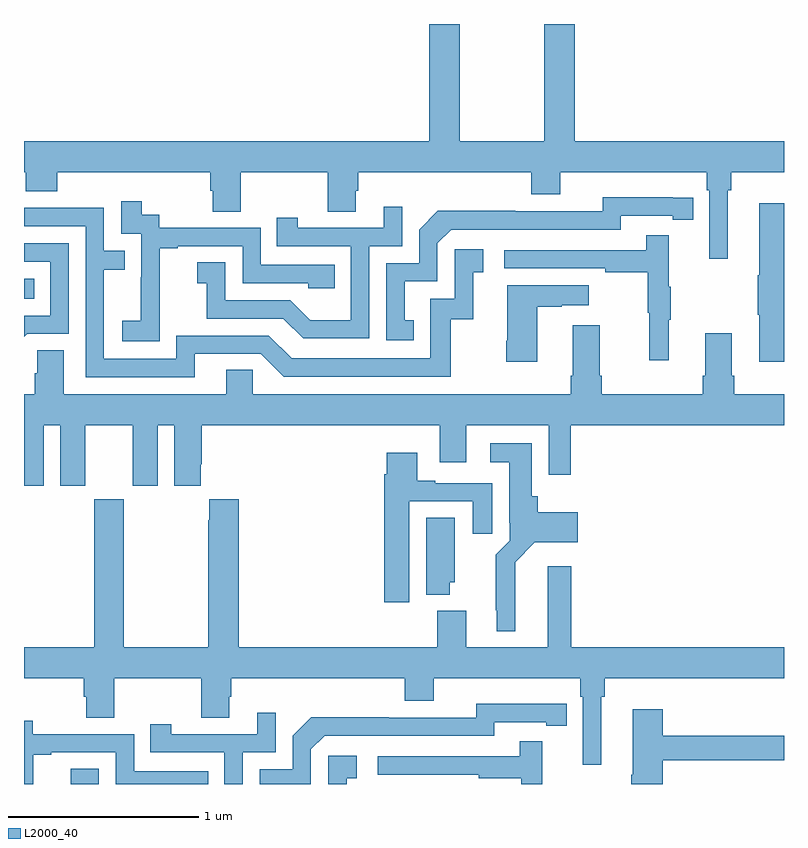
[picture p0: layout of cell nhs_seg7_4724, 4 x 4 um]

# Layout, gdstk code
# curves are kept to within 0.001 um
import gdstk
lib = gdstk.Library(unit=1e-6, precision=1e-09)
def R(c, l, rs):  # rectangles x0, y0, x1, y1
    for r in rs: c.add(gdstk.rectangle(r[:2], r[2:], *l))
def P(c, l, *ps):  # polygons
    for p in ps: c.add(gdstk.Polygon(p, *l))
L2000_40 = (2000, 40)

nhs_seg7_4724 = lib.new_cell('nhs_seg7_4724')
R(nhs_seg7_4724, L2000_40, [(407.247,1060,407.394,1060.081), (407,1062.554,407.054,1062.658)])
P(nhs_seg7_4724, L2000_40, [(409.67,1063.103),(409.822,1063.103),(409.822,1063.22),(410.594,1063.22),(410.594,1063.124),(410.607,1063.124),(410.607,1062.765),(410.704,1062.765),(410.704,1063.124),(410.723,1063.124),(410.723,1063.22),(411,1063.22),(411,1063.384),(409.898,1063.384),(409.898,1064),(409.738,1064),(409.738,1063.384),(409.293,1063.384),(409.293,1064),(409.133,1064),(409.133,1063.384),(407,1063.384),(407,1063.22),(407.009,1063.22),(407.009,1063.121),(407.174,1063.121),(407.174,1063.22),(407.981,1063.22),(407.981,1063.122),(407.993,1063.122),(407.993,1063.012),(408.141,1063.012),(408.141,1063.22),(408.598,1063.22),(408.598,1063.012),(408.745,1063.012),(408.745,1063.122),(408.758,1063.122),(408.758,1063.22),(409.67,1063.22)],
  [(409.052,1062.441),(409.003,1062.441),(409.003,1062.645),(409.176,1062.645),(409.176,1062.846),(409.248,1062.918),(410.142,1062.918),(410.142,1062.99),(410.414,1062.99),(410.414,1062.97),(410.522,1062.97),(410.522,1063.086),(410.046,1063.087),(410.046,1063.014),(409.586,1063.014),(409.586,1063.016),(409.178,1063.016),(409.08,1062.918),(409.08,1062.741),(408.906,1062.741),(408.906,1062.336),(409.052,1062.336)],
  [(407.715,1062.535),(407.714,1062.535),(407.714,1062.819),(407.809,1062.819),(407.809,1062.831),(408.15,1062.831),(408.15,1062.636),(408.495,1062.636),(408.495,1062.609),(408.635,1062.609),(408.635,1062.732),(408.246,1062.732),(408.246,1062.927),(407.712,1062.927),(407.712,1062.996),(407.62,1062.996),(407.62,1063.066),(407.511,1063.066),(407.511,1062.897),(407.616,1062.897),(407.616,1062.668),(407.615,1062.668),(407.615,1062.439),(407.517,1062.439),(407.517,1062.329),(407.715,1062.329)],
  [(411,1063.057),(410.87,1063.057),(410.87,1062.677),(410.863,1062.677),(410.863,1062.471),(410.87,1062.471),(410.87,1062.222),(411,1062.222)],
  [(408.816,1062.831),(408.99,1062.831),(408.99,1063.039),(408.893,1063.039),(408.893,1062.927),(408.442,1062.927),(408.442,1062.979),(408.331,1062.979),(408.331,1062.831),(408.72,1062.831),(408.72,1062.442),(408.506,1062.442),(408.402,1062.546),(408.06,1062.546),(408.06,1062.745),(407.913,1062.745),(407.913,1062.635),(407.962,1062.635),(407.962,1062.45),(408.365,1062.45),(408.47,1062.345),(408.816,1062.345)],
  [(407.899,1062.264),(408.246,1062.264),(408.366,1062.144),(409.246,1062.144),(409.246,1062.447),(409.364,1062.447),(409.364,1062.693),(409.417,1062.693),(409.417,1062.814),(409.266,1062.814),(409.266,1062.555),(409.137,1062.555),(409.137,1062.24),(408.408,1062.24),(408.288,1062.36),(407.802,1062.36),(407.802,1062.237),(407.421,1062.237),(407.421,1062.706),(407.531,1062.706),(407.531,1062.807),(407.421,1062.807),(407.421,1063.032),(407,1063.032),(407,1062.936),(407.325,1062.936),(407.325,1062.141),(407.899,1062.141)],
  [(410.393,1062.443),(410.404,1062.443),(410.404,1062.617),(410.393,1062.617),(410.393,1062.889),(410.275,1062.889),(410.275,1062.81),(409.527,1062.81),(409.527,1062.714),(410.059,1062.714),(410.059,1062.694),(410.283,1062.694),(410.283,1062.48),(410.29,1062.48),(410.29,1062.231),(410.393,1062.231)],
  [(407.016,1062.369),(407.235,1062.369),(407.235,1062.846),(407,1062.846),(407,1062.75),(407.139,1062.75),(407.139,1062.465),(407,1062.465),(407,1062.353)],
  [(409.702,1062.511),(409.829,1062.511),(409.829,1062.521),(409.972,1062.521),(409.972,1062.625),(409.544,1062.625),(409.544,1062.334),(409.537,1062.334),(409.537,1062.222),(409.702,1062.222)],
  [(407.104,1061.888),(407.192,1061.888),(407.192,1061.571),(407.323,1061.571),(407.323,1061.888),(407.573,1061.888),(407.573,1061.571),(407.704,1061.571),(407.704,1061.888),(407.792,1061.888),(407.792,1061.571),(407.929,1061.571),(407.929,1061.683),(407.936,1061.683),(407.936,1061.888),(409.187,1061.888),(409.187,1061.694),(409.327,1061.694),(409.327,1061.888),(409.761,1061.888),(409.761,1061.628),(409.877,1061.628),(409.877,1061.888),(411,1061.888),(411,1062.052),(410.738,1062.052),(410.738,1062.148),(410.725,1062.148),(410.725,1062.373),(410.585,1062.373),(410.585,1062.148),(410.573,1062.148),(410.573,1062.052),(410.042,1062.052),(410.042,1062.148),(410.029,1062.148),(410.029,1062.415),(409.889,1062.415),(409.889,1062.148),(409.877,1062.148),(409.877,1062.052),(408.204,1062.052),(408.204,1062.179),(408.065,1062.179),(408.065,1062.052),(407.209,1062.052),(407.209,1062.284),(407.07,1062.284),(407.07,1062.161),(407.057,1062.161),(407.057,1062.052),(407,1062.052),(407,1061.571),(407.104,1061.571)],
  [(409.585,1061.168),(409.686,1061.27),(409.686,1061.273),(409.915,1061.273),(409.915,1061.431),(409.703,1061.431),(409.703,1061.514),(409.672,1061.514),(409.672,1061.794),(409.455,1061.794),(409.455,1061.693),(409.553,1061.693),(409.553,1061.374),(409.557,1061.374),(409.557,1061.28),(409.483,1061.206),(409.483,1060.915),(409.487,1060.915),(409.487,1060.805),(409.585,1060.805)],
  [(409.027,1061.487),(409.361,1061.487),(409.361,1061.316),(409.465,1061.316),(409.465,1061.583),(409.165,1061.583),(409.165,1061.596),(409.069,1061.596),(409.069,1061.743),(408.908,1061.743),(408.908,1061.63),(408.896,1061.63),(408.896,1060.956),(409.027,1060.956)],
  [(407,1060.556),(407.315,1060.556),(407.315,1060.458),(407.327,1060.458),(407.327,1060.348),(407.475,1060.348),(407.475,1060.556),(407.932,1060.556),(407.932,1060.348),(408.079,1060.348),(408.079,1060.458),(408.092,1060.458),(408.092,1060.556),(409.004,1060.556),(409.004,1060.439),(409.156,1060.439),(409.156,1060.556),(409.928,1060.556),(409.928,1060.46),(409.941,1060.46),(409.941,1060.101),(410.038,1060.101),(410.038,1060.46),(410.057,1060.46),(410.057,1060.556),(411,1060.556),(411,1060.72),(409.88,1060.72),(409.88,1061.146),(409.757,1061.146),(409.757,1060.72),(409.327,1060.72),(409.327,1060.912),(409.175,1060.912),(409.175,1060.72),(408.131,1060.72),(408.131,1061.5),(407.975,1061.5),(407.975,1061.387),(407.971,1061.387),(407.971,1060.72),(407.526,1060.72),(407.526,1061.5),(407.371,1061.5),(407.371,1060.72),(407,1060.72)],
  [(409.24,1061.061),(409.267,1061.061),(409.267,1061.402),(409.118,1061.402),(409.118,1060.997),(409.24,1060.997)],
  [(408.51,1060.182),(408.582,1060.254),(409.476,1060.254),(409.476,1060.326),(409.748,1060.326),(409.748,1060.306),(409.856,1060.306),(409.856,1060.422),(409.38,1060.423),(409.38,1060.35),(408.92,1060.35),(408.92,1060.352),(408.512,1060.352),(408.414,1060.254),(408.414,1060.077),(408.24,1060.077),(408.24,1060),(408.51,1060)],
  [(410.363,1060.126),(411,1060.126),(411,1060.255),(410.363,1060.255),(410.363,1060.393),(410.204,1060.393),(410.204,1060.049),(410.197,1060.049),(410.197,1060),(410.363,1060)],
  [(408.15,1060.167),(408.324,1060.167),(408.324,1060.375),(408.227,1060.375),(408.227,1060.263),(407.776,1060.263),(407.776,1060.315),(407.665,1060.315),(407.665,1060.167),(408.054,1060.167),(408.054,1060),(408.15,1060)],
  [(407.048,1060.155),(407.143,1060.155),(407.143,1060.167),(407.484,1060.167),(407.484,1060),(407.969,1060),(407.969,1060.068),(407.58,1060.068),(407.58,1060.263),(407.046,1060.263),(407.046,1060.332),(407,1060.332),(407,1060),(407.048,1060)],
  [(409.727,1060.225),(409.609,1060.225),(409.609,1060.146),(408.861,1060.146),(408.861,1060.05),(409.393,1060.05),(409.393,1060.03),(409.617,1060.03),(409.617,1060),(409.727,1060)],
  [(408.698,1060.029),(408.751,1060.029),(408.751,1060.15),(408.6,1060.15),(408.6,1060),(408.698,1060)])

lib.write_gds('nhs_seg7_4724.gds')
